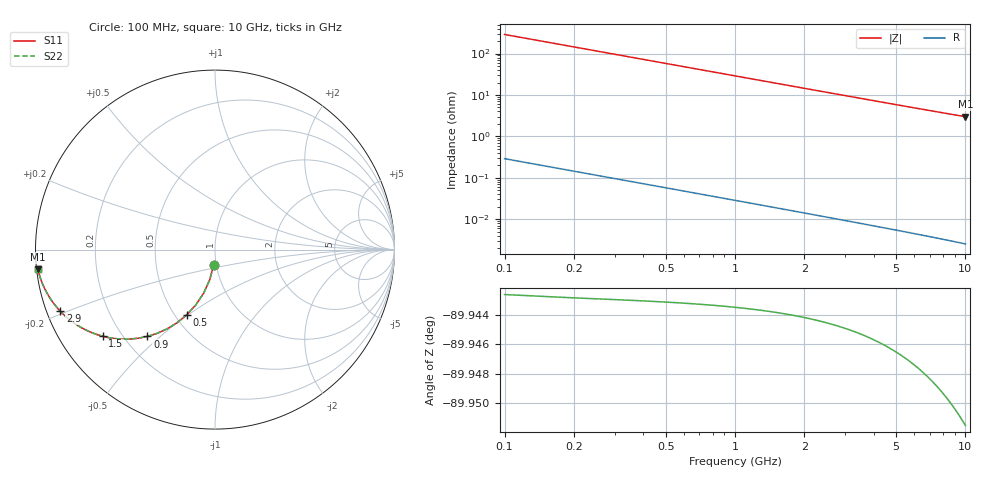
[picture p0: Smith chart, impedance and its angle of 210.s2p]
# Hz S RI R 50.00
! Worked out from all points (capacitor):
!   100 points, 100 MHz to 10 GHz, reference 50 ohm
!   read as one part in shunt: C = 5.5 pF near 100 MHz
!   lowest |Z| = 2.99 ohm at 10 GHz (marker M1)
!   S11 on the Smith chart (normalised r, x): 100 MHz: 0.97, -0.17; 500 MHz: 0.57, -0.49; 900 MHz: 0.29, -0.45; 1.5 GHz: 0.13, -0.34; 2.9 GHz: 0.04, -0.19; 10 GHz: 0.00, -0.06
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1e8  -0.00748 -0.0857  0.9925 -0.0858  0.9925 -0.0858  -0.00748 -0.0857
2e8  -0.0291 -0.1677  0.9708 -0.1679  0.9708 -0.1679  -0.0291 -0.1677
3e8  -0.0632 -0.2427  0.9368 -0.2429  0.9368 -0.2429  -0.0632 -0.2427
4e8  -0.107 -0.3084  0.893 -0.3088  0.893 -0.3088  -0.107 -0.3084
5e8  -0.1575 -0.3636  0.8424 -0.364  0.8424 -0.364  -0.1575 -0.3636
6e8  -0.2121 -0.408  0.7879 -0.4085  0.7879 -0.4085  -0.2121 -0.408
7e8  -0.268 -0.4421  0.7319 -0.4427  0.7319 -0.4427  -0.268 -0.4421
9e8  -0.3769 -0.4837  0.6231 -0.4845  0.6231 -0.4845  -0.3769 -0.4837
1e9  -0.4274 -0.4938  0.5725 -0.4946  0.5725 -0.4946  -0.4274 -0.4938
1.2e9  -0.5179 -0.4987  0.482 -0.4997  0.482 -0.4997  -0.5179 -0.4987
1.5e9  -0.6265 -0.4826  0.3734 -0.4839  0.3734 -0.4839  -0.6265 -0.4826
1.8e9  -0.7071 -0.4538  0.2929 -0.4553  0.2929 -0.4553  -0.7071 -0.4538
2e9  -0.7487 -0.4324  0.2513 -0.4341  0.2513 -0.4341  -0.7487 -0.4324
2.3e9  -0.7975 -0.4004  0.2025 -0.4024  0.2025 -0.4024  -0.7975 -0.4004
2.6e9  -0.8341 -0.3704  0.1658 -0.3726  0.1658 -0.3726  -0.8341 -0.3704
2.9e9  -0.8621 -0.343  0.1379 -0.3455  0.1379 -0.3455  -0.8621 -0.343
3.4e9  -0.8957 -0.3037  0.1043 -0.3066  0.1043 -0.3066  -0.8957 -0.3037
4.2e9  -0.929 -0.2545  0.0709 -0.258  0.0709 -0.258  -0.929 -0.2545
5.1e9  -0.9507 -0.2138  0.0493 -0.2181  0.0493 -0.2181  -0.9507 -0.2138
6.7e9  -0.9708 -0.1649  0.0291 -0.1706  0.0291 -0.1706  -0.9708 -0.1649
8.4e9  -0.9812 -0.1314  0.0187 -0.1387  0.0187 -0.1387  -0.9812 -0.1314
1e10  -0.9867 -0.1094  0.0132 -0.1181  0.0132 -0.1181  -0.9867 -0.1094
